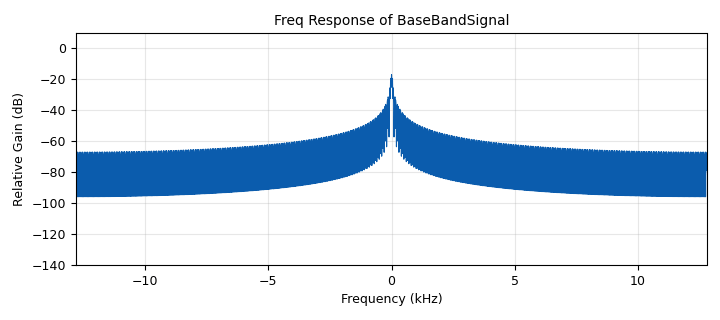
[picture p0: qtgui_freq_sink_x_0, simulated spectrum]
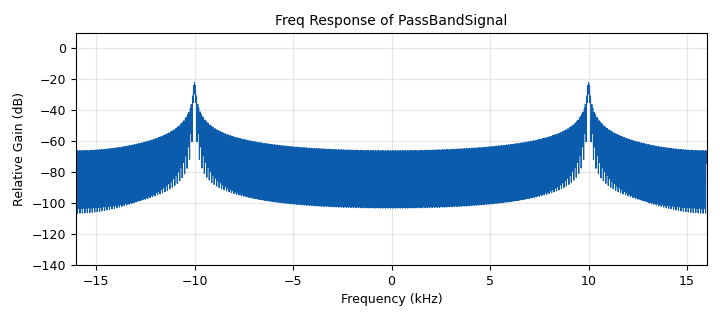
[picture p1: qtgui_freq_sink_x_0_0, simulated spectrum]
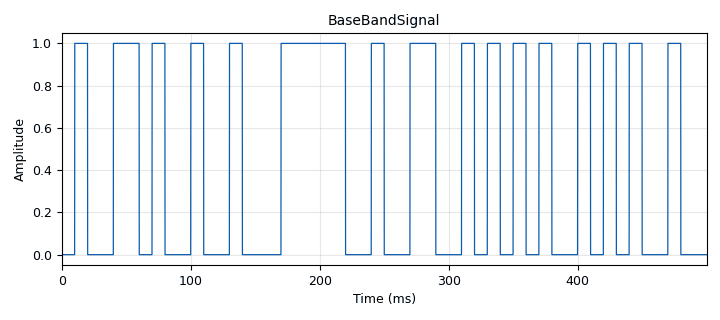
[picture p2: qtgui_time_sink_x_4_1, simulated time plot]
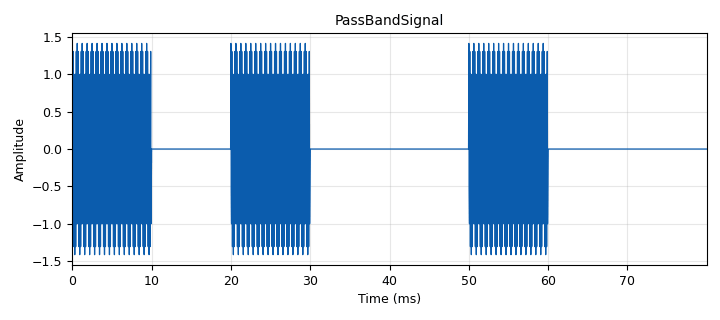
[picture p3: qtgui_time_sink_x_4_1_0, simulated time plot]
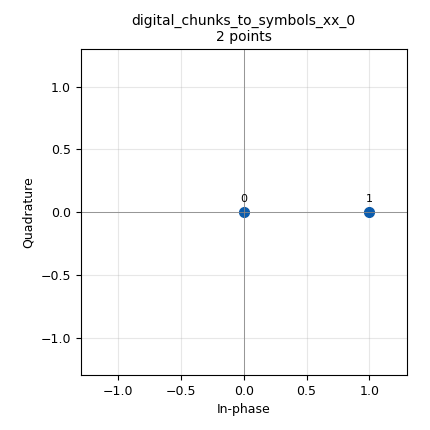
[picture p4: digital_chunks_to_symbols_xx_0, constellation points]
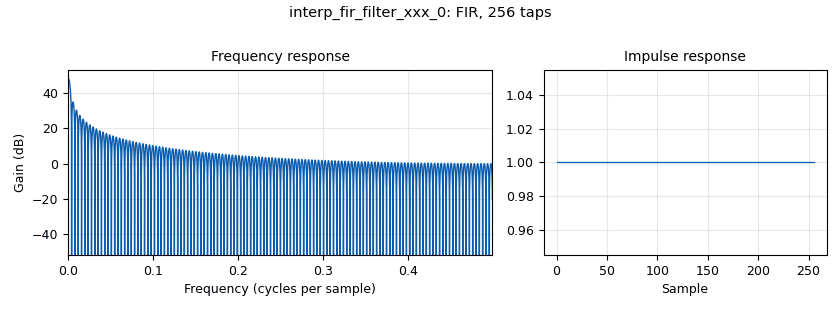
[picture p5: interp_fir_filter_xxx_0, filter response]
options:
  parameters:
    generate_options: qt_gui
    id: ASK_grFlowgraph
    output_language: python
    title: Not titled yet
  states: {}

blocks:
- name: excess_bw
  id: variable
  parameters:
    value: '0.9'
  states: {}
- name: fc
  id: variable
  parameters:
    value: '8000'
  states: {}
- name: interpolation_factor
  id: variable
  parameters:
    value: '256'
  states: {}
- name: rrc_taps
  id: variable
  parameters:
    value: numpy.array ( firdes.root_raised_cosine(10,samp_rate,symbol_rate, excess_bw,16 ))
  states: {}
- name: samp_rate
  id: variable
  parameters:
    value: symbol_rate * interpolation_factor
  states: {}
- name: symbol_rate
  id: variable
  parameters:
    value: 2*50
  states: {}
- name: analog_random_source_x_0
  id: analog_random_source_x
  parameters:
    max: '2'
    min: '0'
    num_samps: 100*2
    repeat: 'False'
    type: byte
  states: {}
- name: analog_sig_source_x_0
  id: analog_sig_source_x
  parameters:
    amp: '1.414'
    freq: fc
    offset: '0'
    phase: '0'
    samp_rate: samp_rate
    type: float
    waveform: analog.GR_COS_WAVE
  states: {}
- name: blocks_multiply_xx_0
  id: blocks_multiply_xx
  parameters:
    type: float
  states: {}
- name: blocks_null_sink_0
  id: blocks_null_sink
  parameters:
    type: float
  states: {state: disabled}
- name: blocks_null_sink_0_0
  id: blocks_null_sink
  parameters:
    type: byte
  states: {state: disabled}
- name: blocks_throttle2_0
  id: blocks_throttle2
  parameters:
    maximum: '2'
    samples_per_second: samp_rate
    type: float
  states: {}
- name: blocks_vector_source_x_0
  id: blocks_vector_source_x
  parameters:
    repeat: 'False'
    type: byte
    vector: (1, 0, 0,1,0,1,1,1)
  states: {state: disabled}
- name: digital_chunks_to_symbols_xx_0
  id: digital_chunks_to_symbols_xx
  parameters:
    dimension: '1'
    in_type: byte
    out_type: float
    symbol_table: '[0,1]'
  states: {}
- name: epy_block_0
  id: epy_block
  parameters:
    _source_code: "\"\"\"\nEmbedded Python Blocks:\n\nEach time this file is saved, GRC will instantiate the first class it finds\nto get ports and parameters of your block. The arguments to __init__  will\nbe the parameters. All of them are required to have default values!\n\"\"\"\n\nimport numpy as np\nfrom gnuradio import gr\n\n\nclass blk(gr.sync_block):  # other base classes are basic_block, decim_block, interp_block\n    \"\"\"Embedded Python Block example - a simple multiply const\"\"\"\n\n    def __init__(self, example_param=1.0):  # only default arguments here\n        \"\"\"arguments to this function show up as parameters in GRC\"\"\"\n        gr.sync_block.__init__(\n            self,\n            name='Embedded Python Block',   # will show up in GRC\n            in_sig=[np.uint8],\n            out_sig=[np.uint8]\n        )\n        # if an attribute with the same name as a parameter is found,\n        # a callback is registered (properties work, too).\n        self.example_param = example_param\n\n\n\n    def work(self, input_items, output_items):\n        in0 = input_items[0]\n        print(\"Bytes:\", in0[:10])  # Print first 10 bytes\n        output_items[0][:] = in0\n        return len(output_items[0])\n\n"
    example_param: '1.0'
  states: {}
- name: epy_block_0_0
  id: epy_block
  parameters:
    _source_code: |
      """
      Embedded Python Blocks:

      Each time this file is saved, GRC will instantiate the first class it finds
      to get ports and parameters of your block. The arguments to __init__  will
      be the parameters. All of them are required to have default values!
      """


      import numpy as np
      from gnuradio import gr

      class byte_display_block(gr.sync_block):
          def __init__(self):
              gr.sync_block.__init__(self,
                  name="Byte Display Block",
                  in_sig=[np.uint8],
                  out_sig=None)

          def work(self, input_items, output_items):
              for byte in input_items[0]:
                  print(f"Byte: {byte:08b}")  # Display as 8-bit binary
              return len(input_items[0])
  states: {state: disabled}
- name: epy_block_0_0_0
  id: epy_block
  parameters:
    _source_code: |
      """
      Embedded Python Blocks:

      Each time this file is saved, GRC will instantiate the first class it finds
      to get ports and parameters of your block. The arguments to __init__  will
      be the parameters. All of them are required to have default values!
      """


      import numpy as np
      from gnuradio import gr

      class float_display_block(gr.sync_block):
          def __init__(self):
              gr.sync_block.__init__(self,
                  name="Byte Display Block",
                  in_sig=[np.float32],
                  out_sig=None)

          def work(self, input_items, output_items):
              for i, val in enumerate(input_items[0][:10]):  # Print first 10 values
                  print(f"Float[{i}]: {val:.4f}")
              return len(input_items[0])
  states: {}
- name: import_0
  id: import
  parameters:
    imports: import numpy
  states: {}
- name: interp_fir_filter_xxx_0
  id: interp_fir_filter_xxx
  parameters:
    interp: interpolation_factor
    taps: numpy.ones(interpolation_factor)
    type: fff
  states: {}
- name: qtgui_freq_sink_x_0
  id: qtgui_freq_sink_x
  parameters:
    bw: 'samp_rate '
    fc: '0'
    fftsize: 1024*2
    name: '"Freq Response of BaseBandSignal"'
    type: float
    update_time: '2'
    wintype: window.WIN_BLACKMAN
  states: {}
- name: qtgui_freq_sink_x_0_0
  id: qtgui_freq_sink_x
  parameters:
    bw: 4*fc
    fc: '0'
    fftsize: 1024*2
    name: '"Freq Response of PassBandSignal"'
    type: float
    update_time: '500'
  states: {}
- name: qtgui_time_sink_x_4_1
  id: qtgui_time_sink_x
  parameters:
    autoscale: 'True'
    grid: 'True'
    name: '"BaseBandSignal"'
    size: 50*256
    srate: samp_rate
    type: float
    update_time: '0.1'
  states: {}
- name: qtgui_time_sink_x_4_1_0
  id: qtgui_time_sink_x
  parameters:
    autoscale: 'True'
    grid: 'True'
    name: '"PassBandSignal"'
    size: '2048'
    srate: samp_rate
    type: float
    update_time: '20'
  states: {}
- name: qtgui_time_sink_x_4_1_1
  id: qtgui_time_sink_x
  parameters:
    autoscale: 'True'
    entags: 'False'
    grid: 'True'
    name: '"symbols"'
    size: '10'
    srate: 'samp_rate '
    type: float
    update_time: '100'
  states: {state: disabled}
- name: virtual_sink_1
  id: virtual_sink
  parameters:
    stream_id: BaseBand_Signal
  states: {}
- name: virtual_sink_1_0
  id: virtual_sink
  parameters:
    stream_id: Passband_ASKsignal
  states: {}
- name: virtual_source_1
  id: virtual_source
  parameters:
    stream_id: BaseBand_Signal
  states: {}
- name: virtual_source_1_0
  id: virtual_source
  parameters:
    stream_id: BaseBand_Signal
  states: {}
- name: virtual_source_1_0_0
  id: virtual_source
  parameters:
    stream_id: Passband_ASKsignal
  states: {}

connections:
- [analog_random_source_x_0, '0', epy_block_0, '0']
- [analog_sig_source_x_0, '0', blocks_multiply_xx_0, '1']
- [blocks_multiply_xx_0, '0', virtual_sink_1_0, '0']
- [blocks_throttle2_0, '0', virtual_sink_1, '0']
- [blocks_vector_source_x_0, '0', digital_chunks_to_symbols_xx_0, '0']
- [blocks_vector_source_x_0, '0', epy_block_0_0, '0']
- [digital_chunks_to_symbols_xx_0, '0', epy_block_0_0_0, '0']
- [digital_chunks_to_symbols_xx_0, '0', interp_fir_filter_xxx_0, '0']
- [digital_chunks_to_symbols_xx_0, '0', qtgui_time_sink_x_4_1_1, '0']
- [epy_block_0, '0', blocks_null_sink_0_0, '0']
- [epy_block_0, '0', digital_chunks_to_symbols_xx_0, '0']
- [interp_fir_filter_xxx_0, '0', blocks_throttle2_0, '0']
- [virtual_source_1, '0', qtgui_freq_sink_x_0, '0']
- [virtual_source_1, '0', qtgui_time_sink_x_4_1, '0']
- [virtual_source_1_0, '0', blocks_multiply_xx_0, '0']
- [virtual_source_1_0_0, '0', qtgui_freq_sink_x_0_0, '0']
- [virtual_source_1_0_0, '0', qtgui_time_sink_x_4_1_0, '0']

metadata:
  file_format: 1
  grc_version: 3.10.11.0
